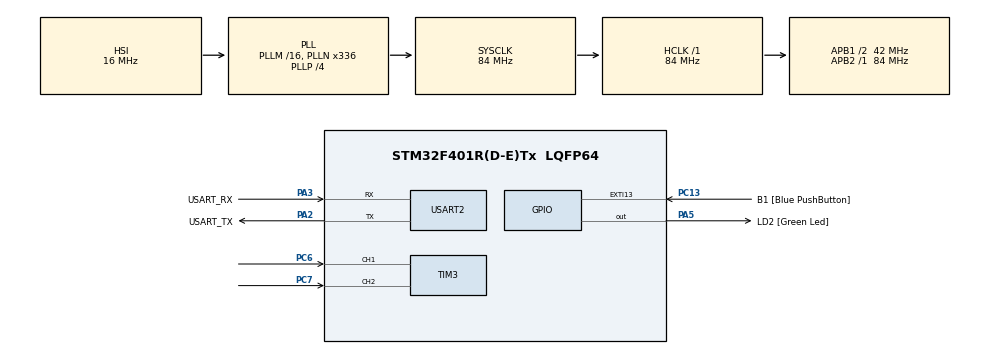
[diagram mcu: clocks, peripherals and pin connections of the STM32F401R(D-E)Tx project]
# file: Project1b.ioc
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Dma.Request0=USART2_TX
Dma.USART2_TX.0.Direction=DMA_MEMORY_TO_PERIPH
Dma.USART2_TX.0.FIFOMode=DMA_FIFOMODE_DISABLE
Dma.USART2_TX.0.Instance=DMA1_Stream6
Dma.USART2_TX.0.MemDataAlignment=DMA_MDATAALIGN_BYTE
Dma.USART2_TX.0.MemInc=DMA_MINC_ENABLE
Dma.USART2_TX.0.Mode=DMA_NORMAL
Dma.USART2_TX.0.PeriphDataAlignment=DMA_PDATAALIGN_BYTE
Dma.USART2_TX.0.PeriphInc=DMA_PINC_DISABLE
Dma.USART2_TX.0.Priority=DMA_PRIORITY_LOW
Mcu.Family=STM32F4
Mcu.Name=STM32F401R(D-E)Tx
Mcu.Package=LQFP64
NVIC.DMA1_Stream6_IRQn=true\:0\:0\:false\:false\:true\:false\:true\:true
NVIC.PriorityGroup=NVIC_PRIORITYGROUP_0
NVIC.TIM2_IRQn=true\:0\:0\:false\:false\:true\:true\:true\:true
NVIC.USART2_IRQn=true\:0\:0\:false\:false\:true\:true\:true\:true
PA13.GPIO_Label=TMS
PA13.Mode=Serial_Wire
PA13.Signal=SYS_JTMS-SWDIO
PA14.GPIO_Label=TCK
PA14.Mode=Serial_Wire
PA14.Signal=SYS_JTCK-SWCLK
PA2.GPIO_Label=USART_TX
PA2.GPIO_Mode=GPIO_MODE_AF_PP
PA2.GPIO_PuPd=GPIO_NOPULL
PA2.GPIO_Speed=GPIO_SPEED_FREQ_LOW
PA2.Mode=Asynchronous
PA2.Signal=USART2_TX
PA3.GPIO_Label=USART_RX
PA3.GPIO_Mode=GPIO_MODE_AF_PP
PA3.GPIO_PuPd=GPIO_NOPULL
PA3.GPIO_Speed=GPIO_SPEED_FREQ_LOW
PA3.Mode=Asynchronous
PA3.Signal=USART2_RX
PA5.GPIO_Label=LD2 [Green Led]
PA5.GPIO_Mode=GPIO_MODE_OUTPUT_PP
PA5.GPIO_PuPd=GPIO_NOPULL
PA5.GPIO_Speed=GPIO_SPEED_FREQ_LOW
PA5.Signal=GPIO_Output
PB3.GPIO_Label=SWO
PB3.Signal=SYS_JTDO-SWO
PC13-ANTI_TAMP.GPIO_Label=B1 [Blue PushButton]
PC13-ANTI_TAMP.GPIO_ModeDefaultEXTI=GPIO_MODE_IT_FALLING
PC13-ANTI_TAMP.GPIO_PuPd=GPIO_NOPULL
PC13-ANTI_TAMP.Signal=GPXTI13
PC14-OSC32_IN.Mode=LSE-External-Oscillator
PC14-OSC32_IN.Signal=RCC_OSC32_IN
PC15-OSC32_OUT.Mode=LSE-External-Oscillator
PC15-OSC32_OUT.Signal=RCC_OSC32_OUT
PC6.Signal=S_TIM3_CH1
PC7.Signal=S_TIM3_CH2
PH0\ -\ OSC_IN.Mode=HSE-External-Clock-Source
PH0\ -\ OSC_IN.Signal=RCC_OSC_IN
PH1\ -\ OSC_OUT.Mode=HSE-External-Clock-Source
PH1\ -\ OSC_OUT.Signal=RCC_OSC_OUT
ProjectManager.HeapSize=0x200
ProjectManager.StackSize=0x400
ProjectManager.TargetToolchain=STM32CubeIDE
RCC.48MHZClocksFreq_Value=48000000
RCC.AHBFreq_Value=84000000
RCC.APB1CLKDivider=RCC_HCLK_DIV2
RCC.APB1Freq_Value=42000000
RCC.APB1TimFreq_Value=84000000
RCC.APB2Freq_Value=84000000
RCC.APB2TimFreq_Value=84000000
RCC.CortexFreq_Value=84000000
RCC.HCLKFreq_Value=84000000
RCC.HSE_VALUE=8000000
RCC.HSI_VALUE=16000000
RCC.PLLN=336
RCC.PLLP=RCC_PLLP_DIV4
RCC.PLLQ=7
RCC.SYSCLKFreq_VALUE=84000000
RCC.SYSCLKSource=RCC_SYSCLKSOURCE_PLLCLK
RCC.VCOOutputFreq_Value=336000000
SH.S_TIM3_CH1.0=TIM3_CH1,Encoder_Interface
SH.S_TIM3_CH2.0=TIM3_CH2,Encoder_Interface
TIM2.Period=9999
TIM2.Prescaler=8399
TIM3.ClockDivision=TIM_CLOCKDIVISION_DIV4
TIM3.EncoderMode=TIM_ENCODERMODE_TI1
TIM3.IC1Filter=15
TIM3.IC1Polarity=TIM_ICPOLARITY_FALLING
TIM3.IC2Filter=15
TIM3.IC2Polarity=TIM_ICPOLARITY_RISING
USART2.VirtualMode=VM_ASYNC
VP_TIM2_VS_ClockSourceINT.Mode=Internal
board=NUCLEO-F401RE

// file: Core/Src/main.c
/* USER CODE BEGIN Header */
/**
  ******************************************************************************
  * @file           : main.c
  * @brief          : Main program body
  ******************************************************************************
  * @attention
  *
  * Copyright (c) 2023 STMicroelectronics.
  * All rights reserved.
  *
  * This software is licensed under terms that can be found in the LICENSE file
  * in the root directory of this software component.
  * If no LICENSE file comes with this software, it is provided AS-IS.
  *
  ******************************************************************************
  */
/* USER CODE END Header */
#include "main.h"

/* USER CODE BEGIN Includes */
#include <stdio.h>
/* USER CODE END Includes */

TIM_HandleTypeDef htim2;
TIM_HandleTypeDef htim3;

UART_HandleTypeDef huart2;
DMA_HandleTypeDef hdma_usart2_tx;

/* USER CODE BEGIN PV */
int16_t counts = 0;
int16_t oldcounts = 0;
/*
 uint16_t counts = 0;
 uint16_t oldcounts = 0;
 */
int delta = 0;
char string[200];
float rpms=0;

/* USER CODE END PV */

void SystemClock_Config(void);
static void MX_GPIO_Init(void);
static void MX_DMA_Init(void);
static void MX_USART2_UART_Init(void);
static void MX_TIM2_Init(void);
static void MX_TIM3_Init(void);

/* USER CODE BEGIN 0 */
void HAL_TIM_PeriodElapsedCallback(TIM_HandleTypeDef *htim){
	if(htim == &htim2){
		oldcounts = counts;
		counts = __HAL_TIM_GET_COUNTER(&htim3);
		delta = counts - oldcounts;
		/*
		 if (delta > 32768){
		  delta = delta - 65536;
	     }
	     else if(delta < -32768){
		  delta = delta + 65536;
	     }
		 */
		rpms = delta/24.0*60.0;
	    int length = snprintf(string,sizeof(string),"Value: %d\r\nDelta: %d\r\nSpeed: %.2f\r\n\r\n",counts,delta,rpms);
	    HAL_UART_Transmit_DMA(&huart2,(uint8_t *)string,length);
	}
}
/* USER CODE END 0 */

int main(void)
{

  /* MCU Configuration--------------------------------------------------------*/

  /* Reset of all peripherals, Initializes the Flash interface and the Systick. */
  HAL_Init();

  /* Configure the system clock */
  SystemClock_Config();

  /* Initialize all configured peripherals */
  MX_GPIO_Init();
  MX_DMA_Init();
  MX_USART2_UART_Init();
  MX_TIM2_Init();
  MX_TIM3_Init();
  /* USER CODE BEGIN 2 */
  HAL_TIM_Encoder_Start(&htim3,TIM_CHANNEL_ALL);
  HAL_TIM_Base_Start_IT(&htim2);
  /* USER CODE END 2 */

  /* Infinite loop */
  while (1)
  {

  }
}

void SystemClock_Config(void)
{
  RCC_OscInitTypeDef RCC_OscInitStruct = {0};
  RCC_ClkInitTypeDef RCC_ClkInitStruct = {0};

  /** Configure the main internal regulator output voltage
  */
  __HAL_RCC_PWR_CLK_ENABLE();
  __HAL_PWR_VOLTAGESCALING_CONFIG(PWR_REGULATOR_VOLTAGE_SCALE2);

  /** Initializes the RCC Oscillators according to the specified parameters
  * in the RCC_OscInitTypeDef structure.
  */
  RCC_OscInitStruct.OscillatorType = RCC_OSCILLATORTYPE_HSI;
  RCC_OscInitStruct.HSIState = RCC_HSI_ON;
  RCC_OscInitStruct.HSICalibrationValue = RCC_HSICALIBRATION_DEFAULT;
  RCC_OscInitStruct.PLL.PLLState = RCC_PLL_ON;
  RCC_OscInitStruct.PLL.PLLSource = RCC_PLLSOURCE_HSI;
  RCC_OscInitStruct.PLL.PLLM = 16;
  RCC_OscInitStruct.PLL.PLLN = 336;
  RCC_OscInitStruct.PLL.PLLP = RCC_PLLP_DIV4;
  RCC_OscInitStruct.PLL.PLLQ = 7;
  if (HAL_RCC_OscConfig(&RCC_OscInitStruct) != HAL_OK)
  {
    Error_Handler();
  }

  /** Initializes the CPU, AHB and APB buses clocks
  */
  RCC_ClkInitStruct.ClockType = RCC_CLOCKTYPE_HCLK|RCC_CLOCKTYPE_SYSCLK
                              |RCC_CLOCKTYPE_PCLK1|RCC_CLOCKTYPE_PCLK2;
  RCC_ClkInitStruct.SYSCLKSource = RCC_SYSCLKSOURCE_PLLCLK;
  RCC_ClkInitStruct.AHBCLKDivider = RCC_SYSCLK_DIV1;
  RCC_ClkInitStruct.APB1CLKDivider = RCC_HCLK_DIV2;
  RCC_ClkInitStruct.APB2CLKDivider = RCC_HCLK_DIV1;

  if (HAL_RCC_ClockConfig(&RCC_ClkInitStruct, FLASH_LATENCY_2) != HAL_OK)
  {
    Error_Handler();
  }
}

static void MX_TIM2_Init(void)
{

  TIM_ClockConfigTypeDef sClockSourceConfig = {0};
  TIM_MasterConfigTypeDef sMasterConfig = {0};

  htim2.Instance = TIM2;
  htim2.Init.Prescaler = 8399;
  htim2.Init.CounterMode = TIM_COUNTERMODE_UP;
  htim2.Init.Period = 9999;
  htim2.Init.ClockDivision = TIM_CLOCKDIVISION_DIV1;
  htim2.Init.AutoReloadPreload = TIM_AUTORELOAD_PRELOAD_DISABLE;
  if (HAL_TIM_Base_Init(&htim2) != HAL_OK)
  {
    Error_Handler();
  }
  sClockSourceConfig.ClockSource = TIM_CLOCKSOURCE_INTERNAL;
  if (HAL_TIM_ConfigClockSource(&htim2, &sClockSourceConfig) != HAL_OK)
  {
    Error_Handler();
  }
  sMasterConfig.MasterOutputTrigger = TIM_TRGO_RESET;
  sMasterConfig.MasterSlaveMode = TIM_MASTERSLAVEMODE_DISABLE;
  if (HAL_TIMEx_MasterConfigSynchronization(&htim2, &sMasterConfig) != HAL_OK)
  {
    Error_Handler();
  }

}

static void MX_TIM3_Init(void)
{

  TIM_Encoder_InitTypeDef sConfig = {0};
  TIM_MasterConfigTypeDef sMasterConfig = {0};

  htim3.Instance = TIM3;
  htim3.Init.Prescaler = 0;
  htim3.Init.CounterMode = TIM_COUNTERMODE_UP;
  htim3.Init.Period = 65535;
  htim3.Init.ClockDivision = TIM_CLOCKDIVISION_DIV4;
  htim3.Init.AutoReloadPreload = TIM_AUTORELOAD_PRELOAD_DISABLE;
  sConfig.EncoderMode = TIM_ENCODERMODE_TI1;
  sConfig.IC1Polarity = TIM_ICPOLARITY_FALLING;
  sConfig.IC1Selection = TIM_ICSELECTION_DIRECTTI;
  sConfig.IC1Prescaler = TIM_ICPSC_DIV1;
  sConfig.IC1Filter = 15;
  sConfig.IC2Polarity = TIM_ICPOLARITY_RISING;
  sConfig.IC2Selection = TIM_ICSELECTION_DIRECTTI;
  sConfig.IC2Prescaler = TIM_ICPSC_DIV1;
  sConfig.IC2Filter = 15;
  if (HAL_TIM_Encoder_Init(&htim3, &sConfig) != HAL_OK)
  {
    Error_Handler();
  }
  sMasterConfig.MasterOutputTrigger = TIM_TRGO_RESET;
  sMasterConfig.MasterSlaveMode = TIM_MASTERSLAVEMODE_DISABLE;
  if (HAL_TIMEx_MasterConfigSynchronization(&htim3, &sMasterConfig) != HAL_OK)
  {
    Error_Handler();
  }

}

static void MX_USART2_UART_Init(void)
{

  huart2.Instance = USART2;
  huart2.Init.BaudRate = 115200;
  huart2.Init.WordLength = UART_WORDLENGTH_8B;
  huart2.Init.StopBits = UART_STOPBITS_1;
  huart2.Init.Parity = UART_PARITY_NONE;
  huart2.Init.Mode = UART_MODE_TX_RX;
  huart2.Init.HwFlowCtl = UART_HWCONTROL_NONE;
  huart2.Init.OverSampling = UART_OVERSAMPLING_16;
  if (HAL_UART_Init(&huart2) != HAL_OK)
  {
    Error_Handler();
  }

}

static void MX_DMA_Init(void)
{

  /* DMA controller clock enable */
  __HAL_RCC_DMA1_CLK_ENABLE();

  /* DMA interrupt init */
  /* DMA1_Stream6_IRQn interrupt configuration */
  HAL_NVIC_SetPriority(DMA1_Stream6_IRQn, 0, 0);
  HAL_NVIC_EnableIRQ(DMA1_Stream6_IRQn);

}

static void MX_GPIO_Init(void)
{
  GPIO_InitTypeDef GPIO_InitStruct = {0};

  /* GPIO Ports Clock Enable */
  __HAL_RCC_GPIOC_CLK_ENABLE();
  __HAL_RCC_GPIOH_CLK_ENABLE();
  __HAL_RCC_GPIOA_CLK_ENABLE();
  __HAL_RCC_GPIOB_CLK_ENABLE();

  /*Configure GPIO pin Output Level */
  HAL_GPIO_WritePin(LD2_GPIO_Port, LD2_Pin, GPIO_PIN_RESET);

  /*Configure GPIO pin : B1_Pin */
  GPIO_InitStruct.Pin = B1_Pin;
  GPIO_InitStruct.Mode = GPIO_MODE_IT_FALLING;
  GPIO_InitStruct.Pull = GPIO_NOPULL;
  HAL_GPIO_Init(B1_GPIO_Port, &GPIO_InitStruct);

  /*Configure GPIO pin : LD2_Pin */
  GPIO_InitStruct.Pin = LD2_Pin;
  GPIO_InitStruct.Mode = GPIO_MODE_OUTPUT_PP;
  GPIO_InitStruct.Pull = GPIO_NOPULL;
  GPIO_InitStruct.Speed = GPIO_SPEED_FREQ_LOW;
  HAL_GPIO_Init(LD2_GPIO_Port, &GPIO_InitStruct);

}

void Error_Handler(void)
{
  __disable_irq();
  while (1)
  {
  }
}
